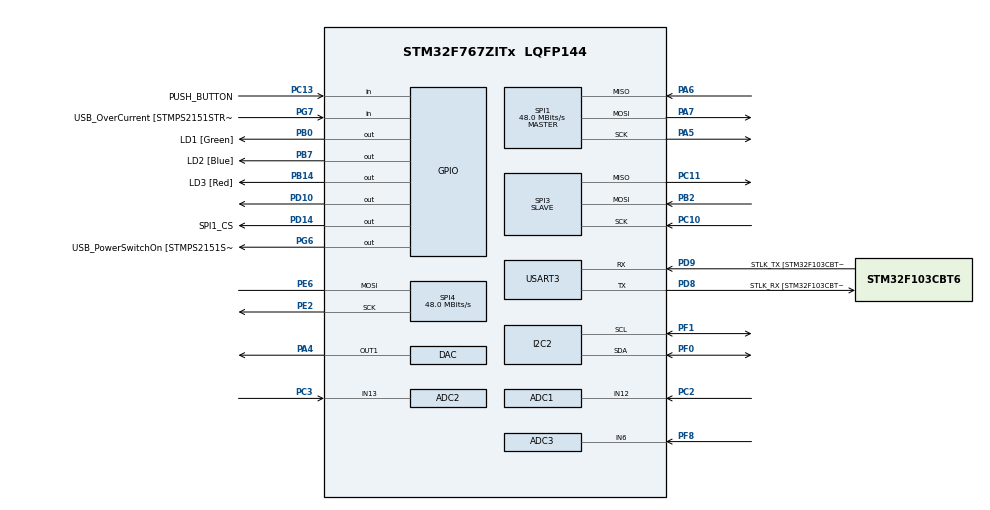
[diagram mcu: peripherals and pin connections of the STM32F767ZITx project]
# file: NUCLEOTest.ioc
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ADC1.Channel-0\#ChannelRegularConversion=ADC_CHANNEL_12
ADC1.NbrOfConversionFlag=1
ADC1.Rank-0\#ChannelRegularConversion=1
ADC1.SamplingTime-0\#ChannelRegularConversion=ADC_SAMPLETIME_3CYCLES
ADC1.master=1
ADC2.Channel-0\#ChannelRegularConversion=ADC_CHANNEL_13
ADC2.NbrOfConversionFlag=1
ADC2.Rank-0\#ChannelRegularConversion=1
ADC2.SamplingTime-0\#ChannelRegularConversion=ADC_SAMPLETIME_3CYCLES
ADC3.Channel-0\#ChannelRegularConversion=ADC_CHANNEL_6
ADC3.NbrOfConversionFlag=1
ADC3.Rank-0\#ChannelRegularConversion=1
ADC3.SamplingTime-0\#ChannelRegularConversion=ADC_SAMPLETIME_3CYCLES
I2C2.Timing=0x20303E5D
Mcu.Family=STM32F7
Mcu.Name=STM32F767ZITx
Mcu.Package=LQFP144
NVIC.PriorityGroup=NVIC_PRIORITYGROUP_4
PA1.GPIO_Label=RMII_REF_CLK [LAN8742A-CZ-TR_REFCLK0]
PA1.Signal=ETH_REF_CLK
PA10.GPIO_Label=USB_ID
PA10.Signal=USB_OTG_FS_ID
PA11.GPIO_Label=USB_DM
PA11.Signal=USB_OTG_FS_DM
PA13.GPIO_Label=TMS
PA13.Mode=Serial_Wire
PA13.Signal=SYS_JTMS-SWDIO
PA14.GPIO_Label=TCK
PA14.Mode=Serial_Wire
PA14.Signal=SYS_JTCK-SWCLK
PA2.GPIO_Label=RMII_MDIO [LAN8742A-CZ-TR_MDIO]
PA2.Signal=ETH_MDIO
PA4.Signal=COMP_DAC1_group
PA5.Mode=Full_Duplex_Master
PA5.Signal=SPI1_SCK
PA6.Mode=Full_Duplex_Master
PA6.Signal=SPI1_MISO
PA7.Mode=Full_Duplex_Master
PA7.Signal=SPI1_MOSI
PA8.GPIO_Label=USB_SOF [TP1]
PA8.Signal=USB_OTG_FS_SOF
PB0.GPIO_Label=LD1 [Green]
PB0.PinState=GPIO_PIN_RESET
PB0.Signal=GPIO_Output
PB13.GPIO_Label=RMII_TXD1 [LAN8742A-CZ-TR_TXD1]
PB13.Signal=ETH_TXD1
PB14.GPIO_Label=LD3 [Red]
PB14.Signal=GPIO_Output
PB2.Mode=Full_Duplex_Slave
PB2.Signal=SPI3_MOSI
PB7.GPIO_Label=LD2 [Blue]
PB7.Signal=GPIO_Output
PC1.GPIO_Label=RMII_MDC [LAN8742A-CZ-TR_MDC]
PC1.Signal=ETH_MDC
PC10.Mode=Full_Duplex_Slave
PC10.Signal=SPI3_SCK
PC11.Mode=Full_Duplex_Slave
PC11.Signal=SPI3_MISO
PC13.GPIO_Label=PUSH_BUTTON
PC13.Signal=GPIO_Input
PC14/OSC32_IN.Mode=LSE-External-Oscillator
PC14/OSC32_IN.Signal=RCC_OSC32_IN
PC15/OSC32_OUT.Mode=LSE-External-Oscillator
PC15/OSC32_OUT.Signal=RCC_OSC32_OUT
PC2.Signal=ADCx_IN12
PC3.Signal=ADCx_IN13
PD10.Signal=GPIO_Output
PD14.GPIO_Label=SPI1_CS
PD14.GPIO_ModeDefaultOutputPP=GPIO_MODE_OUTPUT_PP
PD14.GPIO_Speed=GPIO_SPEED_FREQ_VERY_HIGH
PD14.Signal=GPIO_Output
PD8.GPIO_Label=STLK_RX [STM32F103CBT6_PA3]
PD8.Mode=Asynchronous
PD8.Signal=USART3_TX
PD9.GPIO_Label=STLK_TX [STM32F103CBT6_PA2]
PD9.Mode=Asynchronous
PD9.Signal=USART3_RX
PE2.Mode=Simplex_Bidirectional_Master
PE2.Signal=SPI4_SCK
PE6.Mode=Simplex_Bidirectional_Master
PE6.Signal=SPI4_MOSI
PF0.Mode=I2C
PF0.Signal=I2C2_SDA
PF1.Mode=I2C
PF1.Signal=I2C2_SCL
PF8.Mode=IN6
PF8.Signal=ADC3_IN6
PG6.GPIO_Label=USB_PowerSwitchOn [STMPS2151STR_EN]
PG6.Signal=GPIO_Output
PG7.GPIO_Label=USB_OverCurrent [STMPS2151STR_FAULT]
PG7.Signal=GPIO_Input
PH0/OSC_IN.GPIO_Label=MCO [STM32F103CBT6_PA8]
PH0/OSC_IN.Mode=HSE-External-Clock-Source
PH0/OSC_IN.Signal=RCC_OSC_IN
PH1/OSC_OUT.Mode=HSE-External-Clock-Source
PH1/OSC_OUT.Signal=RCC_OSC_OUT
ProjectManager.HeapSize=0x200
ProjectManager.StackSize=0x400
ProjectManager.TargetToolchain=CMake
RCC.48MHZClocksFreq_Value=24000000
RCC.AHBFreq_Value=96000000
RCC.APB1CLKDivider=RCC_HCLK_DIV2
RCC.APB1Freq_Value=48000000
RCC.APB1TimFreq_Value=96000000
RCC.APB2Freq_Value=96000000
RCC.APB2TimFreq_Value=96000000
RCC.CortexFreq_Value=96000000
RCC.HCLKFreq_Value=96000000
RCC.HSE_VALUE=8000000
RCC.HSI_VALUE=16000000
RCC.PLLM=4
RCC.PLLMUL=RCC_PLL_MUL9
RCC.PLLN=96
RCC.PLLQ=4
RCC.PLLSourceVirtual=RCC_PLLSOURCE_HSE
RCC.PRESCALERUSB=RCC_USBCLKSOURCE_PLL_DIV1_5
RCC.SYSCLKFreq_VALUE=96000000
RCC.SYSCLKSource=RCC_SYSCLKSOURCE_PLLCLK
RCC.SYSCLKSourceVirtual=RCC_SYSCLKSOURCE_PLLCLK
RCC.USBFreq_Value=48000000
RCC.VCOOutputFreq_Value=192000000
SH.ADCx_IN12.0=ADC1_IN12,IN12
SH.ADCx_IN13.0=ADC2_IN13,IN13
SH.COMP_DAC1_group.0=DAC_OUT1,DAC_OUT1
SPI1.CRCCalculation=SPI_CRCCALCULATION_DISABLE
SPI1.CalculateBaudRate=48.0 MBits/s
SPI1.DataSize=SPI_DATASIZE_8BIT
SPI1.Direction=SPI_DIRECTION_2LINES
SPI1.Mode=SPI_MODE_MASTER
SPI1.VirtualType=VM_MASTER
SPI3.Direction=SPI_DIRECTION_2LINES
SPI3.Mode=SPI_MODE_SLAVE
SPI3.VirtualType=VM_SLAVE
SPI4.CalculateBaudRate=48.0 MBits/s
SPI4.Direction=SPI_DIRECTION_1LINE
SPI4.Mode=SPI_MODE_MASTER
SPI4.VirtualType=VM_MASTER
USART3.VirtualMode-Asynchronous=VM_ASYNC
board=NUCLEO-F767ZI

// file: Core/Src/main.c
/* USER CODE BEGIN Header */
/**
  ******************************************************************************
  * @file           : main.c
  * @brief          : Main program body
  ******************************************************************************
  * @attention
  *
  * Copyright (c) 2025 STMicroelectronics.
  * All rights reserved.
  *
  * This software is licensed under terms that can be found in the LICENSE file
  * in the root directory of this software component.
  * If no LICENSE file comes with this software, it is provided AS-IS.
  *
  ******************************************************************************
  */
/* USER CODE END Header */
#include "main.h"
#include "adc.h"
#include "dac.h"
#include "i2c.h"
#include "spi.h"
#include "usart.h"
#include "gpio.h"

/* USER CODE BEGIN PV */
  // Incremented by 1 ms systick interrupt
  uint32_t systick_counter = 0;
/* USER CODE END PV */

void SystemClock_Config(void);

int main(void)
{

  /* MCU Configuration--------------------------------------------------------*/

  /* Reset of all peripherals, Initializes the Flash interface and the Systick. */
  LL_APB1_GRP1_EnableClock(LL_APB1_GRP1_PERIPH_PWR);
  LL_APB2_GRP1_EnableClock(LL_APB2_GRP1_PERIPH_SYSCFG);

  /* System interrupt init*/
  NVIC_SetPriorityGrouping(NVIC_PRIORITYGROUP_4);

  /* Configure the system clock */
  SystemClock_Config();

  /* Initialize all configured peripherals */
  MX_GPIO_Init();
  MX_ADC1_Init();
  MX_ADC2_Init();
  MX_ADC3_Init();
  MX_DAC_Init();
  MX_I2C2_Init();
  MX_SPI1_Init();
  MX_SPI3_Init();
  MX_SPI4_Init();
  MX_USART3_UART_Init();
  /* USER CODE BEGIN 2 */
  LL_SYSTICK_EnableIT();

  /* @param commandBuffer While we try to figure out the command buffer's endiannes,
   *                      the best we can do is to try and parse both sides.
   *
   *
   */
  uint8_t commandBuffer[3];

  float desiredVoltage = 2.0;
  uint16_t desiredVoltageCode = voltCodeConvert(desiredVoltage);

  setChannel(commandBuffer, LTC2620_CHANNEL_ALL);
  setCommand(commandBuffer, LTC2620_COMMAND_WRITE_N_UPDATE_ALL);
  setVoltage(commandBuffer, desiredVoltageCode);

  /* USER CODE END 2 */

  /* Infinite loop */
  while (1)
  {

    /* USER CODE BEGIN 3 */
    /*
    if(LL_GPIO_IsInputPinSet(PUSH_BUTTON_GPIO_Port, PUSH_BUTTON_Pin)) {
      LL_GPIO_SetOutputPin(LD1_GPIO_Port, LD1_Pin);
      LL_mDelay(50);
      LL_GPIO_ResetOutputPin(LD1_GPIO_Port, LD1_Pin);
      LL_GPIO_SetOutputPin(LD2_GPIO_Port, LD2_Pin);
      LL_mDelay(50);
      LL_GPIO_ResetOutputPin(LD2_GPIO_Port, LD2_Pin);
      LL_GPIO_SetOutputPin(LD3_GPIO_Port, LD3_Pin);
      LL_mDelay(50);
      LL_GPIO_ResetOutputPin(LD3_GPIO_Port, LD3_Pin);
    }
  */
    LL_GPIO_SetOutputPin(LD1_GPIO_Port, LD1_Pin);

    LL_GPIO_ResetOutputPin(SPI1_CS_GPIO_Port, SPI1_CS_Pin);
    SPI_SendBytes(SPI1, commandBuffer, 3);
    LL_GPIO_SetOutputPin(SPI1_CS_GPIO_Port, SPI1_CS_Pin);

    LL_mDelay(300);

    LL_GPIO_ResetOutputPin(LD1_GPIO_Port, LD1_Pin);
    LL_GPIO_SetOutputPin(LD2_GPIO_Port, LD2_Pin);

    desiredVoltage = 2.5;
    desiredVoltageCode = voltCodeConvert(desiredVoltage);
    setChannel(commandBuffer, LTC2620_CHANNEL_ALL);
    setCommand(commandBuffer, LTC2620_COMMAND_WRITE_N_UPDATE_ALL);
    setVoltage(commandBuffer, desiredVoltageCode);

    LL_GPIO_ResetOutputPin(SPI1_CS_GPIO_Port, SPI1_CS_Pin);
    SPI_SendBytes(SPI1, commandBuffer, 3);
    LL_GPIO_SetOutputPin(SPI1_CS_GPIO_Port, SPI1_CS_Pin);

    LL_mDelay(300);

    LL_GPIO_ResetOutputPin(LD2_GPIO_Port, LD2_Pin);
    LL_GPIO_SetOutputPin(LD3_GPIO_Port, LD2_Pin);

    desiredVoltage = 3.0;
    desiredVoltageCode = voltCodeConvert(desiredVoltage);
    setChannel(commandBuffer, LTC2620_CHANNEL_ALL);
    setCommand(commandBuffer, LTC2620_COMMAND_WRITE_N_UPDATE_ALL);
    setVoltage(commandBuffer, desiredVoltageCode);

    LL_GPIO_ResetOutputPin(SPI1_CS_GPIO_Port, SPI1_CS_Pin);
    SPI_SendBytes(SPI1, commandBuffer, 3);
    LL_GPIO_SetOutputPin(SPI1_CS_GPIO_Port, SPI1_CS_Pin);

    LL_mDelay(300);

    LL_GPIO_ResetOutputPin(LD3_GPIO_Port, LD2_Pin);

  }
  /* USER CODE END 3 */
}

void SystemClock_Config(void)
{
  LL_FLASH_SetLatency(LL_FLASH_LATENCY_3);
  while(LL_FLASH_GetLatency()!= LL_FLASH_LATENCY_3)
  {
  }
  LL_PWR_SetRegulVoltageScaling(LL_PWR_REGU_VOLTAGE_SCALE3);
  LL_PWR_EnableOverDriveMode();
  LL_RCC_HSE_EnableBypass();
  LL_RCC_HSE_Enable();

   /* Wait till HSE is ready */
  while(LL_RCC_HSE_IsReady() != 1)
  {

  }
  LL_RCC_PLL_ConfigDomain_SYS(LL_RCC_PLLSOURCE_HSE, LL_RCC_PLLM_DIV_4, 96, LL_RCC_PLLP_DIV_2);
  LL_RCC_PLL_Enable();

   /* Wait till PLL is ready */
  while(LL_RCC_PLL_IsReady() != 1)
  {

  }
  while (LL_PWR_IsActiveFlag_VOS() == 0)
  {
  }
  LL_RCC_SetAHBPrescaler(LL_RCC_SYSCLK_DIV_1);
  LL_RCC_SetAPB1Prescaler(LL_RCC_APB1_DIV_2);
  LL_RCC_SetAPB2Prescaler(LL_RCC_APB2_DIV_1);
  LL_RCC_SetSysClkSource(LL_RCC_SYS_CLKSOURCE_PLL);

   /* Wait till System clock is ready */
  while(LL_RCC_GetSysClkSource() != LL_RCC_SYS_CLKSOURCE_STATUS_PLL)
  {

  }
  LL_Init1msTick(96000000);
  LL_SetSystemCoreClock(96000000);

   /* Set Timers Clock Prescalers */
  LL_RCC_SetTIMPrescaler(LL_RCC_TIM_PRESCALER_TWICE);
}

void Error_Handler(void)
{
  __disable_irq();
  while (1) {
  }
}
